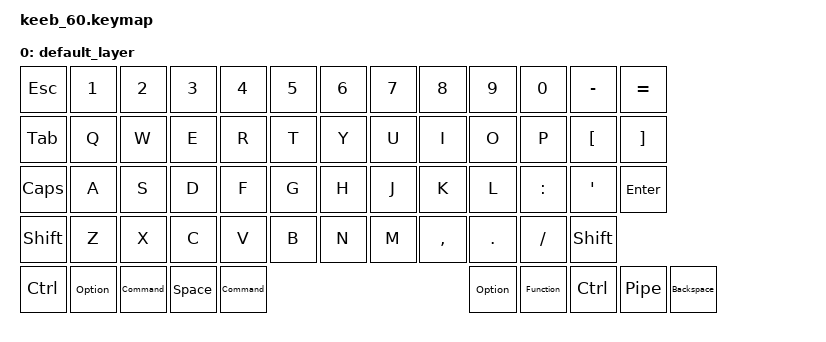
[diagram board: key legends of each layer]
#include <behaviors.dtsi>
#include <dt-bindings/zmk/keys.h>

/ {
    keymap {
        compatible = "zmk,keymap";

        default_layer { // Layer 0
            // -------------------------------------
            // |     Z     |     M     |     K     |
            // |     A     |     B     |     C     |
            // |     D     |     E     |     F     |
            bindings = <
                &kp Esc    &kp 1    &kp 2    &kp 3    &kp 4    &kp 5    &kp 6    &kp 7    &kp 8    &kp 9    &kp 0    &kp -    &kp =
                &kp Tab    &kp Q    &kp W    &kp E    &kp R    &kp T    &kp Y    &kp U    &kp I    &kp O    &kp P    &kp [    &kp ]
                &kp Caps   &kp A    &kp S    &kp D    &kp F    &kp G    &kp H    &kp J    &kp K    &kp L    &kp :    &kp '    &kp Enter
                &kp Shift  &kp Z    &kp X    &kp C    &kp V    &kp B    &kp N    &kp M    &kp ,    &kp .    &kp /    &kp Shift
                &kp Ctrl    &kp Option    &kp Command    &kp Space    &kp Command    &kp Option    &kp Function    &kp Ctrl    &kp Pipe    &kp Backspace
            >;
        };
    };
 };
